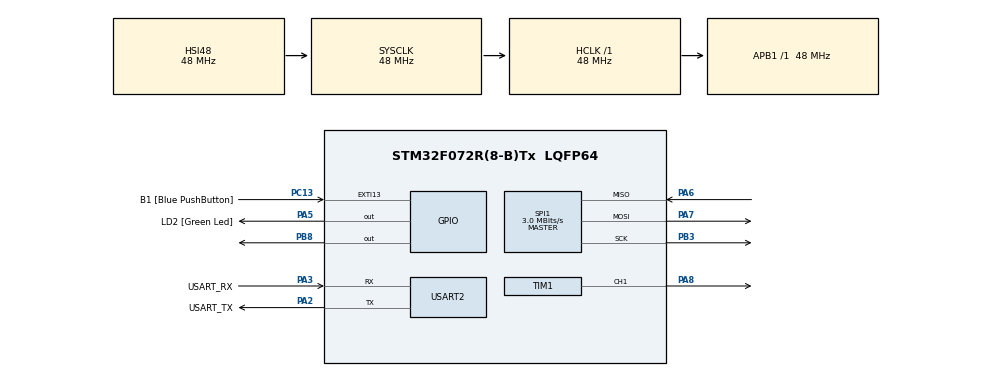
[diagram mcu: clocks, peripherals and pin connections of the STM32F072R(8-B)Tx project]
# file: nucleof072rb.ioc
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Mcu.Family=STM32F0
Mcu.Name=STM32F072R(8-B)Tx
Mcu.Package=LQFP64
PA13.GPIO_Label=TMS
PA13.Mode=Serial_Wire
PA13.Signal=SYS_SWDIO
PA14.GPIO_Label=TCK
PA14.Mode=Serial_Wire
PA14.Signal=SYS_SWCLK
PA2.GPIO_Label=USART_TX
PA2.GPIO_Mode=GPIO_MODE_AF_PP
PA2.GPIO_PuPd=GPIO_NOPULL
PA2.GPIO_Speed=GPIO_SPEED_FREQ_LOW
PA2.Mode=Asynchronous
PA2.Signal=USART2_TX
PA3.GPIO_Label=USART_RX
PA3.GPIO_Mode=GPIO_MODE_AF_PP
PA3.GPIO_PuPd=GPIO_NOPULL
PA3.GPIO_Speed=GPIO_SPEED_FREQ_LOW
PA3.Mode=Asynchronous
PA3.Signal=USART2_RX
PA5.GPIO_Label=LD2 [Green Led]
PA5.GPIO_Mode=GPIO_MODE_OUTPUT_PP
PA5.GPIO_PuPd=GPIO_NOPULL
PA5.GPIO_Speed=GPIO_SPEED_FREQ_LOW
PA5.Signal=GPIO_Output
PA6.Mode=Full_Duplex_Master
PA6.Signal=SPI1_MISO
PA7.Mode=Full_Duplex_Master
PA7.Signal=SPI1_MOSI
PA8.Signal=S_TIM1_CH1
PB3.Mode=Full_Duplex_Master
PB3.Signal=SPI1_SCK
PB8.Signal=GPIO_Output
PC13.GPIO_Label=B1 [Blue PushButton]
PC13.GPIO_ModeDefaultEXTI=GPIO_MODE_IT_FALLING
PC13.Signal=GPXTI13
PC14-OSC32_IN.Mode=LSE-External-Oscillator
PC14-OSC32_IN.Signal=RCC_OSC32_IN
PC15-OSC32_OUT.Mode=LSE-External-Oscillator
PC15-OSC32_OUT.Signal=RCC_OSC32_OUT
PF0-OSC_IN.Mode=HSE-External-Clock-Source
PF0-OSC_IN.Signal=RCC_OSC_IN
PF1-OSC_OUT.Signal=RCC_OSC_OUT
ProjectManager.HeapSize=0x200
ProjectManager.StackSize=0x400
ProjectManager.TargetToolchain=STM32CubeIDE
RCC.AHBFreq_Value=48000000
RCC.APB1Freq_Value=48000000
RCC.APB1TimFreq_Value=48000000
RCC.FLatency-AdvancedSettings=FLASH_LATENCY_1
RCC.HCLKFreq_Value=48000000
RCC.PLLDivider=RCC_PREDIV_DIV2
RCC.PLLMUL=RCC_PLL_MUL12
RCC.PREFETCH_ENABLE-AdvancedSettings=1
RCC.SYSCLKFreq_VALUE=48000000
RCC.SYSCLKSource=RCC_SYSCLKSOURCE_HSI48
SH.S_TIM1_CH1.0=TIM1_CH1,PWM Generation1 CH1
SPI1.BaudRatePrescaler=SPI_BAUDRATEPRESCALER_16
SPI1.CalculateBaudRate=3.0 MBits/s
SPI1.DataSize=SPI_DATASIZE_8BIT
SPI1.Direction=SPI_DIRECTION_2LINES
SPI1.Mode=SPI_MODE_MASTER
SPI1.VirtualType=VM_MASTER
TIM1.Channel-PWM\ Generation1\ CH1=TIM_CHANNEL_1
TIM1.Period=60000
TIM1.Prescaler=15
USART2.VirtualMode=VM_ASYNC
USART2.VirtualMode-Asynchronous=VM_ASYNC
board=NUCLEO-F072RB

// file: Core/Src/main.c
/* USER CODE BEGIN Header */
/**
  ******************************************************************************
  * @file           : main.c
  * @brief          : Main program body
  ******************************************************************************
  * @attention
  *
  * <h2><center>&copy; Copyright (c) 2021 STMicroelectronics.
  * All rights reserved.</center></h2>
  *
  * This software component is licensed by ST under BSD 3-Clause license,
  * the "License"; You may not use this file except in compliance with the
  * License. You may obtain a copy of the License at:
  *                        opensource.org/licenses/BSD-3-Clause
  *
  ******************************************************************************
  */
/* USER CODE END Header */
#include "main.h"
#include "spi.h"
#include "tim.h"
#include "usart.h"
#include "gpio.h"

/* USER CODE BEGIN Includes */

#include "stm32f0xx_hal_spi.h"
#include "stm32f0xx_hal_tim.h"

/* USER CODE END Includes */

void SystemClock_Config(void);

int main(void)
{

  /* MCU Configuration--------------------------------------------------------*/

  /* Reset of all peripherals, Initializes the Flash interface and the Systick. */
  HAL_Init();

  /* Configure the system clock */
  SystemClock_Config();

  /* Initialize all configured peripherals */
  MX_GPIO_Init();
  MX_USART2_UART_Init();
  MX_SPI1_Init();
  MX_TIM1_Init();
  /* USER CODE BEGIN 2 */

  // MCP3008 p19: "If the device was powered up with the CS pin low, it must be brought high and back low to initiate communication."
  HAL_GPIO_WritePin(GPIOB, GPIO_PIN_8, GPIO_PIN_SET);

  /* USER CODE END 2 */

  /* Infinite loop */
  /* USER CODE BEGIN WHILE */

  // MCP3008 p22: the chip requires 24 bits for both tx and rx (aka 3 bytes)
  uint8_t adcspi_tx[3] = {0}, adcspi_rx[3];

  // MCP3008 p22: tx start bit
  adcspi_tx[0] = 1U;

  const uint8_t ADC_CTRL_SGL_DIFF = 0x1U; 	// SGL/DIFF, 1 for single mode
  const uint8_t ADC_CTRL_D = 0x0U; 			// D2/D1/D0, 0x0 for selecting CH0

  // MCP3008 p22: tx control byte
  adcspi_tx[1] = ADC_CTRL_SGL_DIFF << 7 | ADC_CTRL_D << 4;

  HAL_TIM_PWM_Start(&htim1, TIM_CHANNEL_1);

  while (1) {
	  HAL_Delay(10);

	  HAL_GPIO_WritePin(GPIOB, GPIO_PIN_8, GPIO_PIN_RESET);
	  HAL_SPI_TransmitReceive(&hspi1, adcspi_tx, adcspi_rx, sizeof(adcspi_tx), UINT32_MAX);
	  HAL_GPIO_WritePin(GPIOB, GPIO_PIN_8, GPIO_PIN_SET);

	  // MCP3008 p22: reconstruct raw value read from ADC
	  uint32_t adc_raw_value = (adcspi_rx[1] & 0x03) << 8 | adcspi_rx[2];

	  // according to the datasheet, adc_raw_value is mapped to 0-1023 corresponding to 0-VREF.
	  // VREF is 3.3v per the schematic, so map 0-1023 to 0-htim1.Init.Period

	  uint32_t tim1_pwm_compare = adc_raw_value * htim1.Init.Period / 1024;

	  __HAL_TIM_SET_COMPARE(&htim1, TIM_CHANNEL_1, tim1_pwm_compare);

    /* USER CODE END WHILE */

    /* USER CODE BEGIN 3 */
  }

  HAL_SPI_MspDeInit(&hspi1);
  HAL_TIM_PWM_MspDeInit(&htim1);
  /* USER CODE END 3 */
}

void SystemClock_Config(void)
{
  RCC_OscInitTypeDef RCC_OscInitStruct = {0};
  RCC_ClkInitTypeDef RCC_ClkInitStruct = {0};
  RCC_PeriphCLKInitTypeDef PeriphClkInit = {0};

  /** Initializes the RCC Oscillators according to the specified parameters
  * in the RCC_OscInitTypeDef structure.
  */
  RCC_OscInitStruct.OscillatorType = RCC_OSCILLATORTYPE_HSI48;
  RCC_OscInitStruct.HSI48State = RCC_HSI48_ON;
  RCC_OscInitStruct.PLL.PLLState = RCC_PLL_NONE;
  if (HAL_RCC_OscConfig(&RCC_OscInitStruct) != HAL_OK)
  {
    Error_Handler();
  }
  /** Initializes the CPU, AHB and APB buses clocks
  */
  RCC_ClkInitStruct.ClockType = RCC_CLOCKTYPE_HCLK|RCC_CLOCKTYPE_SYSCLK
                              |RCC_CLOCKTYPE_PCLK1;
  RCC_ClkInitStruct.SYSCLKSource = RCC_SYSCLKSOURCE_HSI48;
  RCC_ClkInitStruct.AHBCLKDivider = RCC_SYSCLK_DIV1;
  RCC_ClkInitStruct.APB1CLKDivider = RCC_HCLK_DIV1;

  if (HAL_RCC_ClockConfig(&RCC_ClkInitStruct, FLASH_LATENCY_1) != HAL_OK)
  {
    Error_Handler();
  }
  PeriphClkInit.PeriphClockSelection = RCC_PERIPHCLK_USART2;
  PeriphClkInit.Usart2ClockSelection = RCC_USART2CLKSOURCE_PCLK1;
  if (HAL_RCCEx_PeriphCLKConfig(&PeriphClkInit) != HAL_OK)
  {
    Error_Handler();
  }
}

void Error_Handler(void)
{
  __disable_irq();
  while (1)
  {
  }
}

#ifdef  USE_FULL_ASSERT
/**
  * @brief  Reports the name of the source file and the source line number
  *         where the assert_param error has occurred.
  * @param  file: pointer to the source file name
  * @param  line: assert_param error line source number
  * @retval None
  */
void assert_failed(uint8_t *file, uint32_t line)
{
  /* USER CODE BEGIN 6 */
	printf("Wrong parameters value: file %s on line %d\r\n", file, line) */
  /* USER CODE END 6 */
}
#endif /* USE_FULL_ASSERT */

/************************ (C) COPYRIGHT STMicroelectronics *****END OF FILE****/
